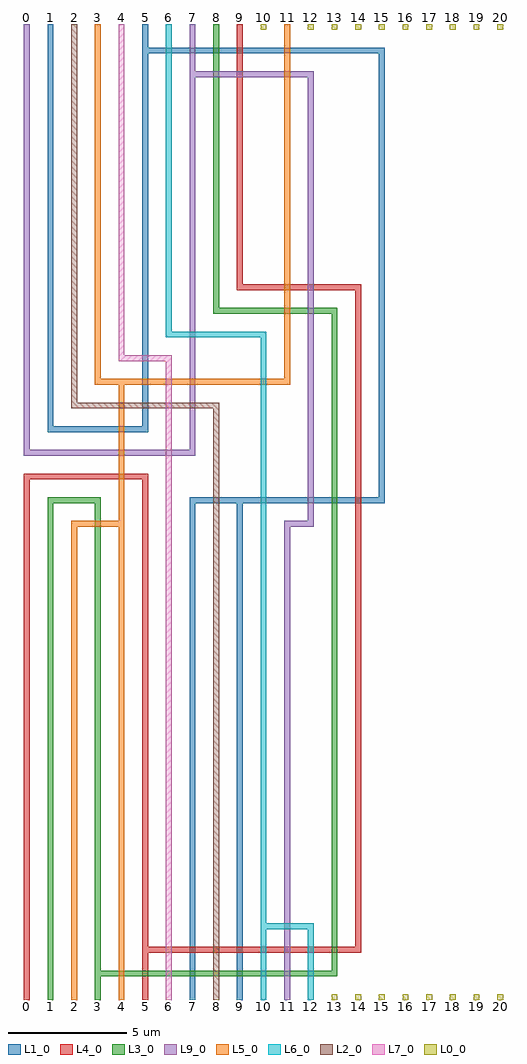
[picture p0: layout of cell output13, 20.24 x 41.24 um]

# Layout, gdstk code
import gdstk
lib = gdstk.Library(unit=1e-6, precision=1e-09)
def R(c, l, rs):  # rectangles x0, y0, x1, y1
    for r in rs: c.add(gdstk.rectangle(r[:2], r[2:], *l))
def A(c, l, x, y, w, h, nx, ny, dx, dy):  # array of equal rectangles
    R(c, l, [(x+i*dx, y+j*dy, x+i*dx+w, y+j*dy+h) for i in range(nx) for j in range(ny)])
L0_0 = (0, 0)
L1_0 = (1, 0)
L2_0 = (2, 0)
L3_0 = (3, 0)
L4_0 = (4, 0)
L5_0 = (5, 0)
L6_0 = (6, 0)
L7_0 = (7, 0)
L9_0 = (9, 0)

output13 = lib.new_cell('output13')
A(output13, L0_0, 12.88, -0.12, 0.24, 0.24, 8, 1, 1, 0)
A(output13, L0_0, 11.88, 40.88, 0.24, 0.24, 9, 1, 1, 0)
R(output13, L0_0, [(9.88,40.88,10.12,41.12)])
A(output13, L1_0, 6.88, -0.12, 0.24, 3.24, 1, 7, 0, 3)
A(output13, L1_0, 6.88, 20.88, 1.24, 0.24, 8, 1, 1, 0)
A(output13, L1_0, 0.88, 23.88, 1.24, 0.24, 4, 1, 1, 0)
A(output13, L1_0, 0.88, 24.88, 0.24, 3.24, 1, 5, 0, 3)
A(output13, L1_0, 4.88, 39.88, 1.24, 0.24, 10, 1, 1, 0)
R(output13, L1_0, [(6.88,-0.12,7.12,0.12), (8.88,-0.12,9.12,3.12), (8.88,-0.12,9.12,0.12), (8.88,2.88,9.12,21.12), (14.88,20.88,15.12,40.12), (0.88,23.88,1.12,25.12), (4.88,23.88,5.12,40.12), (0.88,39.88,1.12,41.12), (4.88,39.88,5.12,41.12), (0.88,40.88,1.12,41.12), (4.88,40.88,5.12,41.12)])
A(output13, L2_0, 1.88, 24.88, 0.24, 3.24, 1, 5, 0, 3)
A(output13, L2_0, 1.88, 24.88, 1.24, 0.24, 6, 1, 1, 0)
R(output13, L2_0, [(7.88,-0.12,8.12,3.12), (7.88,-0.12,8.12,0.12), (7.88,2.88,8.12,25.12), (1.88,39.88,2.12,41.12), (1.88,40.88,2.12,41.12)])
A(output13, L3_0, 0.88, 0.88, 0.24, 3.24, 1, 6, 0, 3)
A(output13, L3_0, 2.88, 0.88, 1.24, 0.24, 10, 1, 1, 0)
A(output13, L3_0, 7.88, 28.88, 0.24, 3.24, 1, 4, 0, 3)
A(output13, L3_0, 7.88, 28.88, 1.24, 0.24, 5, 1, 1, 0)
R(output13, L3_0, [(0.88,-0.12,1.12,1.12), (0.88,-0.12,1.12,0.12), (2.88,-0.12,3.12,1.12), (2.88,-0.12,3.12,0.12), (2.88,0.88,3.12,21.12), (12.88,0.88,13.12,29.12), (0.88,18.88,1.12,21.12), (0.88,20.88,2.12,21.12), (1.88,20.88,3.12,21.12), (7.88,40.88,8.12,41.12)])
A(output13, L4_0, -0.12, 0.88, 0.24, 3.24, 1, 7, 0, 3)
A(output13, L4_0, 4.88, 1.88, 1.24, 0.24, 9, 1, 1, 0)
A(output13, L4_0, -0.12, 21.88, 1.24, 0.24, 5, 1, 1, 0)
A(output13, L4_0, 8.88, 29.88, 1.24, 0.24, 5, 1, 1, 0)
A(output13, L4_0, 8.88, 31.88, 0.24, 3.24, 1, 3, 0, 3)
R(output13, L4_0, [(-0.12,-0.12,0.12,1.12), (-0.12,-0.12,0.12,0.12), (4.88,-0.12,5.12,2.12), (4.88,-0.12,5.12,0.12), (4.88,1.88,5.12,22.12), (13.88,1.88,14.12,30.12), (8.88,29.88,9.12,32.12), (8.88,40.88,9.12,41.12)])
A(output13, L5_0, 1.88, 0.88, 0.24, 3.24, 1, 6, 0, 3)
A(output13, L5_0, 2.88, 25.88, 1.24, 0.24, 8, 1, 1, 0)
A(output13, L5_0, 2.88, 27.88, 0.24, 3.24, 1, 4, 0, 3)
R(output13, L5_0, [(1.88,-0.12,2.12,1.12), (1.88,-0.12,2.12,0.12), (3.88,-0.12,4.12,2.12), (3.88,-0.12,4.12,0.12), (3.88,1.88,4.12,20.12), (1.88,18.88,2.12,20.12), (1.88,19.88,3.12,20.12), (2.88,19.88,4.12,20.12), (3.88,19.88,4.12,26.12), (2.88,25.88,3.12,28.12), (10.88,25.88,11.12,38.12), (10.88,37.88,11.12,41.12), (2.88,39.88,3.12,41.12), (2.88,40.88,3.12,41.12), (10.88,40.88,11.12,41.12)])
A(output13, L6_0, 5.88, 27.88, 1.24, 0.24, 4, 1, 1, 0)
A(output13, L6_0, 5.88, 29.88, 0.24, 3.24, 1, 3, 0, 3)
R(output13, L6_0, [(9.88,-0.12,10.12,3.12), (9.88,-0.12,10.12,0.12), (11.88,-0.12,12.12,3.12), (11.88,-0.12,12.12,0.12), (9.88,2.88,10.12,28.12), (9.88,2.88,11.12,3.12), (10.88,2.88,12.12,3.12), (5.88,27.88,6.12,30.12), (5.88,38.88,6.12,41.12), (5.88,40.88,6.12,41.12)])
A(output13, L7_0, 3.88, 27.88, 0.24, 3.24, 1, 4, 0, 3)
R(output13, L7_0, [(5.88,-0.12,6.12,3.12), (5.88,-0.12,6.12,0.12), (5.88,2.88,6.12,27.12), (3.88,26.88,4.12,28.12), (3.88,26.88,5.12,27.12), (4.88,26.88,6.12,27.12), (3.88,39.88,4.12,41.12), (3.88,40.88,4.12,41.12)])
A(output13, L9_0, 10.88, 3.88, 0.24, 3.24, 1, 5, 0, 3)
A(output13, L9_0, -0.12, 22.88, 1.24, 0.24, 7, 1, 1, 0)
A(output13, L9_0, -0.12, 24.88, 0.24, 3.24, 1, 5, 0, 3)
A(output13, L9_0, 6.88, 38.88, 1.24, 0.24, 5, 1, 1, 0)
R(output13, L9_0, [(10.88,-0.12,11.12,4.12), (10.88,-0.12,11.12,0.12), (10.88,18.88,11.12,20.12), (10.88,19.88,12.12,20.12), (11.88,19.88,12.12,39.12), (-0.12,22.88,0.12,25.12), (6.88,22.88,7.12,39.12), (6.88,38.88,7.12,41.12), (-0.12,39.88,0.12,41.12), (-0.12,40.88,0.12,41.12), (6.88,40.88,7.12,41.12)])
output13.add(gdstk.Label('0', (0,41.4), layer=215, texttype=1))
output13.add(gdstk.Label('9', (0,41), layer=215, texttype=1))
output13.add(gdstk.Label('1', (1,41.4), layer=215, texttype=1))
output13.add(gdstk.Label('1', (1,41), layer=215, texttype=1))
output13.add(gdstk.Label('2', (2,41.4), layer=215, texttype=1))
output13.add(gdstk.Label('2', (2,41), layer=215, texttype=1))
output13.add(gdstk.Label('3', (3,41.4), layer=215, texttype=1))
output13.add(gdstk.Label('5', (3,41), layer=215, texttype=1))
output13.add(gdstk.Label('4', (4,41.4), layer=215, texttype=1))
output13.add(gdstk.Label('7', (4,41), layer=215, texttype=1))
output13.add(gdstk.Label('5', (5,41.4), layer=215, texttype=1))
output13.add(gdstk.Label('1', (5,41), layer=215, texttype=1))
output13.add(gdstk.Label('6', (6,41.4), layer=215, texttype=1))
output13.add(gdstk.Label('6', (6,41), layer=215, texttype=1))
output13.add(gdstk.Label('7', (7,41.4), layer=215, texttype=1))
output13.add(gdstk.Label('9', (7,41), layer=215, texttype=1))
output13.add(gdstk.Label('8', (8,41.4), layer=215, texttype=1))
output13.add(gdstk.Label('3', (8,41), layer=215, texttype=1))
output13.add(gdstk.Label('9', (9,41.4), layer=215, texttype=1))
output13.add(gdstk.Label('4', (9,41), layer=215, texttype=1))
output13.add(gdstk.Label('10', (10,41.4), layer=215, texttype=1))
output13.add(gdstk.Label('0', (10,41), layer=215, texttype=1))
output13.add(gdstk.Label('11', (11,41.4), layer=215, texttype=1))
output13.add(gdstk.Label('5', (11,41), layer=215, texttype=1))
output13.add(gdstk.Label('12', (12,41.4), layer=215, texttype=1))
output13.add(gdstk.Label('0', (12,41), layer=215, texttype=1))
output13.add(gdstk.Label('13', (13,41.4), layer=215, texttype=1))
output13.add(gdstk.Label('0', (13,41), layer=215, texttype=1))
output13.add(gdstk.Label('14', (14,41.4), layer=215, texttype=1))
output13.add(gdstk.Label('0', (14,41), layer=215, texttype=1))
output13.add(gdstk.Label('15', (15,41.4), layer=215, texttype=1))
output13.add(gdstk.Label('0', (15,41), layer=215, texttype=1))
output13.add(gdstk.Label('16', (16,41.4), layer=215, texttype=1))
output13.add(gdstk.Label('0', (16,41), layer=215, texttype=1))
output13.add(gdstk.Label('17', (17,41.4), layer=215, texttype=1))
output13.add(gdstk.Label('0', (17,41), layer=215, texttype=1))
output13.add(gdstk.Label('18', (18,41.4), layer=215, texttype=1))
output13.add(gdstk.Label('0', (18,41), layer=215, texttype=1))
output13.add(gdstk.Label('19', (19,41.4), layer=215, texttype=1))
output13.add(gdstk.Label('0', (19,41), layer=215, texttype=1))
output13.add(gdstk.Label('20', (20,41.4), layer=215, texttype=1))
output13.add(gdstk.Label('0', (20,41), layer=215, texttype=1))
output13.add(gdstk.Label('0', (0,-0.4), layer=215, texttype=1))
output13.add(gdstk.Label('4', (0,0), layer=215, texttype=1))
output13.add(gdstk.Label('1', (1,-0.4), layer=215, texttype=1))
output13.add(gdstk.Label('3', (1,0), layer=215, texttype=1))
output13.add(gdstk.Label('2', (2,-0.4), layer=215, texttype=1))
output13.add(gdstk.Label('5', (2,0), layer=215, texttype=1))
output13.add(gdstk.Label('3', (3,-0.4), layer=215, texttype=1))
output13.add(gdstk.Label('3', (3,0), layer=215, texttype=1))
output13.add(gdstk.Label('4', (4,-0.4), layer=215, texttype=1))
output13.add(gdstk.Label('5', (4,0), layer=215, texttype=1))
output13.add(gdstk.Label('5', (5,-0.4), layer=215, texttype=1))
output13.add(gdstk.Label('4', (5,0), layer=215, texttype=1))
output13.add(gdstk.Label('6', (6,-0.4), layer=215, texttype=1))
output13.add(gdstk.Label('7', (6,0), layer=215, texttype=1))
output13.add(gdstk.Label('7', (7,-0.4), layer=215, texttype=1))
output13.add(gdstk.Label('1', (7,0), layer=215, texttype=1))
output13.add(gdstk.Label('8', (8,-0.4), layer=215, texttype=1))
output13.add(gdstk.Label('2', (8,0), layer=215, texttype=1))
output13.add(gdstk.Label('9', (9,-0.4), layer=215, texttype=1))
output13.add(gdstk.Label('1', (9,0), layer=215, texttype=1))
output13.add(gdstk.Label('10', (10,-0.4), layer=215, texttype=1))
output13.add(gdstk.Label('6', (10,0), layer=215, texttype=1))
output13.add(gdstk.Label('11', (11,-0.4), layer=215, texttype=1))
output13.add(gdstk.Label('9', (11,0), layer=215, texttype=1))
output13.add(gdstk.Label('12', (12,-0.4), layer=215, texttype=1))
output13.add(gdstk.Label('6', (12,0), layer=215, texttype=1))
output13.add(gdstk.Label('13', (13,-0.4), layer=215, texttype=1))
output13.add(gdstk.Label('0', (13,0), layer=215, texttype=1))
output13.add(gdstk.Label('14', (14,-0.4), layer=215, texttype=1))
output13.add(gdstk.Label('0', (14,0), layer=215, texttype=1))
output13.add(gdstk.Label('15', (15,-0.4), layer=215, texttype=1))
output13.add(gdstk.Label('0', (15,0), layer=215, texttype=1))
output13.add(gdstk.Label('16', (16,-0.4), layer=215, texttype=1))
output13.add(gdstk.Label('0', (16,0), layer=215, texttype=1))
output13.add(gdstk.Label('17', (17,-0.4), layer=215, texttype=1))
output13.add(gdstk.Label('0', (17,0), layer=215, texttype=1))
output13.add(gdstk.Label('18', (18,-0.4), layer=215, texttype=1))
output13.add(gdstk.Label('0', (18,0), layer=215, texttype=1))
output13.add(gdstk.Label('19', (19,-0.4), layer=215, texttype=1))
output13.add(gdstk.Label('0', (19,0), layer=215, texttype=1))
output13.add(gdstk.Label('20', (20,-0.4), layer=215, texttype=1))
output13.add(gdstk.Label('0', (20,0), layer=215, texttype=1))

lib.write_gds('output13.gds')
